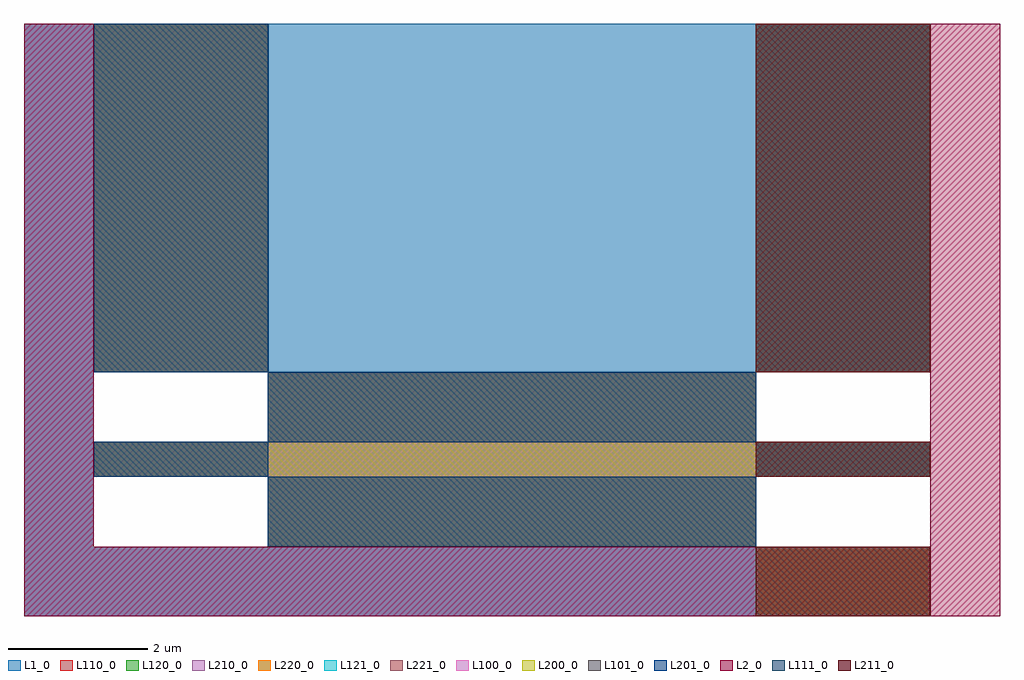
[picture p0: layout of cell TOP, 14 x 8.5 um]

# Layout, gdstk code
import gdstk
lib = gdstk.Library(unit=1e-6, precision=1e-09)
def R(c, l, rs):  # rectangles x0, y0, x1, y1
    for r in rs: c.add(gdstk.rectangle(r[:2], r[2:], *l))
def P(c, l, *ps):  # polygons
    for p in ps: c.add(gdstk.Polygon(p, *l))
L1_0 = (1, 0)
L2_0 = (2, 0)
L100_0 = (100, 0)
L101_0 = (101, 0)
L110_0 = (110, 0)
L111_0 = (111, 0)
L120_0 = (120, 0)
L121_0 = (121, 0)
L200_0 = (200, 0)
L201_0 = (201, 0)
L210_0 = (210, 0)
L211_0 = (211, 0)
L220_0 = (220, 0)
L221_0 = (221, 0)

top = lib.new_cell('TOP')
R(top, L1_0, [(3.5,2,10.5,2.5), (3.5,3.5,10.5,8.5)])
P(top, L1_0, [(0,0),(0,8.5),(1,8.5),(1,1),(10.5,1),(10.5,0)])
R(top, L2_0, [(13,0,14,8.5)])
P(top, L2_0, [(0,0),(0,8.5),(1,8.5),(1,1),(10.5,1),(10.5,0)])
R(top, L100_0, [(3.499,0.999,10.501,2.001), (3.499,0.999,10.501,3.501), (0.999,1.999,3.501,2.501), (3.499,2.499,10.501,3.501), (0.999,3.499,3.501,8.501)])
R(top, L101_0, [(3.499,0.999,10.501,2.001), (0.999,1.999,3.501,2.501), (3.499,2.499,10.501,3.501), (0.999,3.499,3.501,8.501)])
R(top, L110_0, [(10.499,-0.001,13.001,1.001), (3.499,0.999,10.501,3.501), (3.499,0.999,10.501,2.001), (0.999,1.999,3.501,2.501), (10.499,1.999,13.001,2.501), (0.999,3.499,3.501,8.501), (10.499,3.499,13.001,8.501)])
R(top, L111_0, [(10.499,-0.001,13.001,1.001), (10.499,1.999,13.001,2.501), (10.499,3.499,13.001,8.501)])
R(top, L120_0, [(10.499,-0.001,13.001,1.001), (3.499,0.999,10.501,2.001), (3.499,0.999,10.501,3.501), (0.999,1.999,3.501,2.501), (10.499,1.999,13.001,2.501), (0.999,3.499,3.501,8.501), (10.499,3.499,13.001,8.501)])
R(top, L121_0, [(3.499,0.999,10.501,2.001), (3.499,0.999,10.501,3.501), (0.999,1.999,3.501,2.501), (10.499,1.999,13.001,2.501), (0.999,3.499,3.501,8.501), (10.499,3.499,13.001,8.501)])
R(top, L200_0, [(3.499,0.999,10.501,2.001), (3.499,0.999,10.501,3.501), (0.999,1.999,3.501,2.501), (3.499,2.499,10.501,3.501), (0.999,3.499,3.501,8.501)])
R(top, L201_0, [(3.499,0.999,10.501,2.001), (0.999,1.999,3.501,2.501), (3.499,2.499,10.501,3.501), (0.999,3.499,3.501,8.501)])
R(top, L210_0, [(10.499,-0.001,13.001,1.001), (3.499,0.999,10.501,3.501), (3.499,0.999,10.501,2.001), (0.999,1.999,3.501,2.501), (10.499,1.999,13.001,2.501), (0.999,3.499,3.501,8.501), (10.499,3.499,13.001,8.501)])
R(top, L211_0, [(10.499,-0.001,13.001,1.001), (10.499,1.999,13.001,2.501), (10.499,3.499,13.001,8.501)])
R(top, L220_0, [(10.499,-0.001,13.001,1.001), (3.499,0.999,10.501,2.001), (3.499,0.999,10.501,3.501), (0.999,1.999,3.501,2.501), (10.499,1.999,13.001,2.501), (0.999,3.499,3.501,8.501), (10.499,3.499,13.001,8.501)])
R(top, L221_0, [(3.499,0.999,10.501,2.001), (3.499,0.999,10.501,3.501), (0.999,1.999,3.501,2.501), (10.499,1.999,13.001,2.501), (0.999,3.499,3.501,8.501), (10.499,3.499,13.001,8.501)])

lib.write_gds('TOP.gds')
